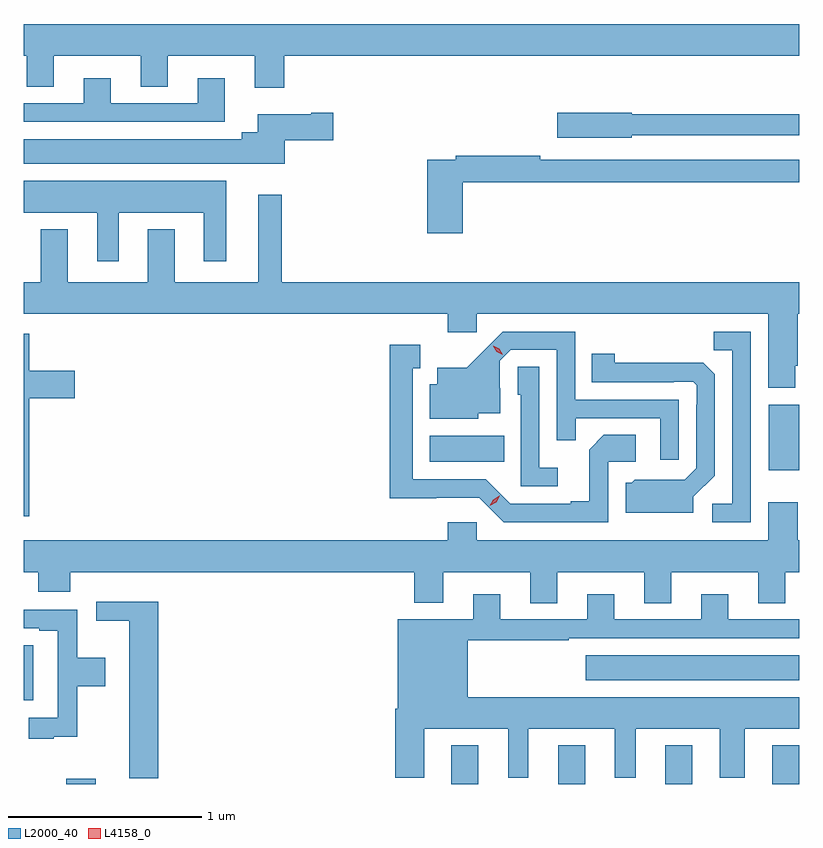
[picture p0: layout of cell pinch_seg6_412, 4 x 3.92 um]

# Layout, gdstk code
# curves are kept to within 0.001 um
import gdstk
lib = gdstk.Library(unit=1e-6, precision=1e-09)
def R(c, l, rs):  # rectangles x0, y0, x1, y1
    for r in rs: c.add(gdstk.rectangle(r[:2], r[2:], *l))
def A(c, l, x, y, w, h, nx, ny, dx, dy):  # array of equal rectangles
    R(c, l, [(x+i*dx, y+j*dy, x+i*dx+w, y+j*dy+h) for i in range(nx) for j in range(ny)])
def P(c, l, *ps):  # polygons
    for p in ps: c.add(gdstk.Polygon(p, *l))
L2000_40 = (2000, 40)
L4158_0 = (4158, 0)

pinch_seg6_412 = lib.new_cell('pinch_seg6_412')
A(pinch_seg6_412, L2000_40, 674.723, 919.602, 0.14, 0.199, 3, 1, 0.552, 0)
R(pinch_seg6_412, L2000_40, [(672.737,919.602,672.889,919.63), (676.379,919.602,676.518,919.801), (672.518,920.033,672.565,920.317), (675.417,920.138,676.518,920.266), (676.361,921.222,676.518,921.559), (674.612,921.266,674.996,921.4)])
P(pinch_seg6_412, L2000_40, [(673.862,923.36),(676.518,923.36),(676.518,923.524),(672.518,923.524),(672.518,923.36),(672.533,923.36),(672.533,923.2),(672.673,923.2),(672.673,923.36),(673.121,923.36),(673.121,923.2),(673.261,923.2),(673.261,923.36),(673.709,923.36),(673.709,923.196),(673.862,923.196)],
  [(673.555,923.245),(673.415,923.245),(673.415,923.115),(672.967,923.115),(672.967,923.245),(672.827,923.245),(672.827,923.115),(672.518,923.115),(672.518,923.019),(673.555,923.019)],
  [(673.864,922.925),(674.113,922.925),(674.113,923.067),(674,923.067),(674,923.059),(673.724,923.059),(673.724,922.966),(673.643,922.966),(673.643,922.93),(672.518,922.93),(672.518,922.802),(673.864,922.802)],
  [(675.654,922.95),(676.518,922.95),(676.518,923.059),(675.654,923.059),(675.654,923.067),(675.27,923.067),(675.27,922.937),(675.654,922.937)],
  [(674.783,922.708),(676.518,922.708),(676.518,922.824),(675.182,922.824),(675.182,922.844),(674.746,922.844),(674.746,922.824),(674.6,922.824),(674.6,922.443),(674.783,922.443)],
  [(673.006,922.55),(673.445,922.55),(673.445,922.299),(673.561,922.299),(673.561,922.714),(672.518,922.714),(672.518,922.55),(672.896,922.55),(672.896,922.299),(673.006,922.299)],
  [(676.498,921.76),(676.511,921.76),(676.511,922.028),(676.518,922.028),(676.518,922.192),(673.849,922.192),(673.849,922.642),(673.727,922.642),(673.727,922.192),(673.297,922.192),(673.297,922.465),(673.157,922.465),(673.157,922.192),(672.745,922.192),(672.745,922.465),(672.605,922.465),(672.605,922.192),(672.518,922.192),(672.518,922.028),(674.705,922.028),(674.705,921.933),(674.856,921.933),(674.856,922.028),(676.358,922.028),(676.358,921.648),(676.498,921.648)],
  [(676.269,921.936),(676.078,921.936),(676.078,921.841),(676.173,921.841),(676.173,921.048),(676.071,921.048),(676.071,920.952),(676.269,920.952)],
  [(675.897,921.585),(675.363,921.585),(675.363,921.936),(674.99,921.936),(674.803,921.751),(674.651,921.751),(674.651,921.664),(674.612,921.664),(674.612,921.488),(674.862,921.488),(674.862,921.515),(674.977,921.515),(674.977,921.644),(674.973,921.644),(674.973,921.786),(675.03,921.843),(675.267,921.843),(675.267,921.376),(675.365,921.376),(675.365,921.489),(675.801,921.489),(675.801,921.276),(675.897,921.276)],
  [(672.545,921.593),(672.781,921.593),(672.781,921.735),(672.545,921.735),(672.545,921.925),(672.518,921.925),(672.518,920.985),(672.545,920.985)],
  [(675.534,921.264),(675.676,921.264),(675.676,921.404),(675.511,921.404),(675.435,921.328),(675.435,921.061),(675.341,921.061),(675.341,921.048),(675.027,921.048),(674.901,921.174),(674.524,921.174),(674.524,921.747),(674.563,921.747),(674.563,921.868),(674.406,921.868),(674.406,921.077),(674.868,921.078),(674.994,920.952),(675.534,920.952)],
  [(675.973,921.084),(676.083,921.194),(676.083,921.716),(676.024,921.775),(675.567,921.776),(675.567,921.823),(675.448,921.823),(675.448,921.675),(675.872,921.675),(675.872,921.678),(675.972,921.678),(675.99,921.66),(675.99,921.56),(675.987,921.56),(675.987,921.231),(675.927,921.171),(675.67,921.172),(675.654,921.156),(675.623,921.156),(675.623,921.002),(675.973,921.002)],
  [(675.274,921.235),(675.177,921.235),(675.177,921.755),(675.066,921.755),(675.066,921.612),(675.081,921.612),(675.081,921.138),(675.274,921.138)],
  [(675.271,920.696),(675.719,920.696),(675.719,920.536),(675.859,920.536),(675.859,920.696),(676.307,920.696),(676.307,920.536),(676.447,920.536),(676.447,920.696),(676.518,920.696),(676.518,920.86),(676.511,920.86),(676.511,921.055),(676.358,921.055),(676.358,920.86),(674.856,920.86),(674.856,920.953),(674.705,920.953),(674.705,920.86),(672.518,920.86),(672.518,920.696),(672.593,920.696),(672.593,920.594),(672.758,920.594),(672.758,920.696),(674.531,920.696),(674.531,920.537),(674.683,920.537),(674.683,920.696),(675.131,920.696),(675.131,920.536),(675.271,920.536)],
  [(674.584,919.886),(675.017,919.886),(675.017,919.635),(675.121,919.635),(675.121,919.886),(675.566,919.886),(675.566,919.635),(675.676,919.635),(675.676,919.886),(676.109,919.886),(676.109,919.635),(676.237,919.635),(676.237,919.886),(676.518,919.886),(676.518,920.05),(674.809,920.05),(674.809,920.343),(675.329,920.343),(675.329,920.355),(676.518,920.355),(676.518,920.451),(676.153,920.451),(676.153,920.581),(676.013,920.581),(676.013,920.451),(675.565,920.451),(675.565,920.581),(675.425,920.581),(675.425,920.451),(674.977,920.451),(674.977,920.581),(674.837,920.581),(674.837,920.452),(674.447,920.452),(674.447,919.99),(674.435,919.99),(674.435,919.635),(674.584,919.635)],
  [(673.211,920.542),(672.891,920.542),(672.891,920.444),(673.061,920.444),(673.061,919.632),(673.211,919.632)],
  [(672.671,919.847),(672.794,919.847),(672.794,920.107),(672.937,920.107),(672.937,920.254),(672.794,920.254),(672.794,920.502),(672.518,920.502),(672.518,920.406),(672.596,920.406),(672.596,920.394),(672.693,920.394),(672.693,919.944),(672.543,919.944),(672.543,919.836),(672.671,919.836)])
P(pinch_seg6_412, L4158_0, [(674.988,921.817),(674.957,921.833),(674.94,921.862),(674.94,921.863),(674.94,921.863),(674.971,921.847),(674.988,921.818),(674.988,921.817)],
  [(674.923,921.037),(674.923,921.037),(674.94,921.07),(674.972,921.089),(674.973,921.089),(674.973,921.089),(674.955,921.056),(674.923,921.037)])

lib.write_gds('pinch_seg6_412.gds')
